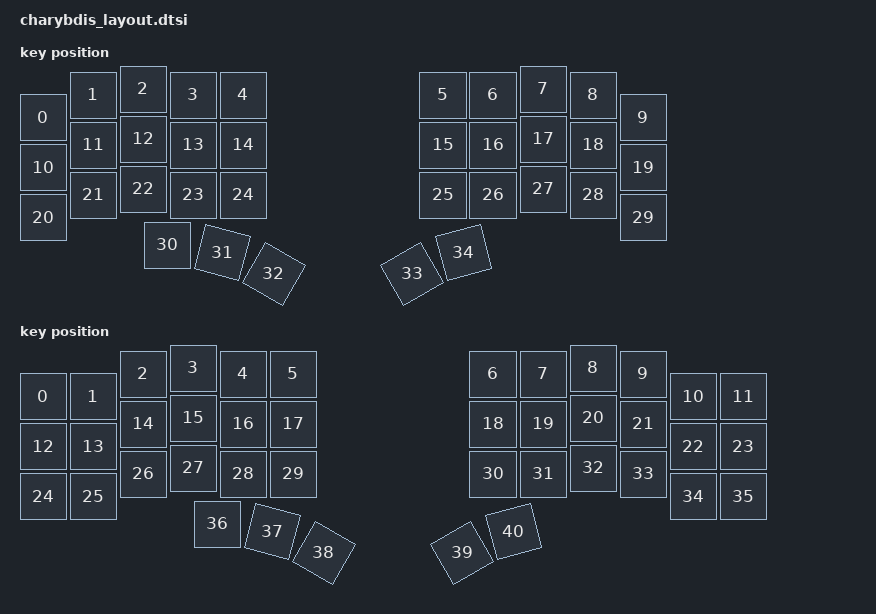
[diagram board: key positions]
#include <physical_layouts.dtsi>
/* https://zmk-physical-layout-converter.streamlit.app/ */

/ {
    charybdis_5col_layout: charybdis_5col_layout {
        compatible = "zmk,physical-layout";
        display-name = "Charybdis 3x5";
        transform = <&charybdis_5col_transform>;

        keys
            // Left Half - Main Keys
            //                       w   h    x    y     rot    rx    ry
            = <&key_physical_attrs 100 100    0   57       0     0     0>
            , <&key_physical_attrs 100 100  100   12       0     0     0>
            , <&key_physical_attrs 100 100  200    0       0     0     0>
            , <&key_physical_attrs 100 100  300   12       0     0     0>
            , <&key_physical_attrs 100 100  400   12       0     0     0>
            , <&key_physical_attrs 100 100  800   12       0     0     0>
            , <&key_physical_attrs 100 100  900   12       0     0     0>
            , <&key_physical_attrs 100 100 1000    0       0     0     0>
            , <&key_physical_attrs 100 100 1100   12       0     0     0>
            , <&key_physical_attrs 100 100 1200   57       0     0     0>
            , <&key_physical_attrs 100 100    0  157       0     0     0>
            , <&key_physical_attrs 100 100  100  112       0     0     0>
            , <&key_physical_attrs 100 100  200  100       0     0     0>
            , <&key_physical_attrs 100 100  300  112       0     0     0>
            , <&key_physical_attrs 100 100  400  112       0     0     0>
            
            // Right Half - Main Keys
            //                       w   h    x    y     rot    rx    ry
            , <&key_physical_attrs 100 100  800  112       0     0     0>
            , <&key_physical_attrs 100 100  900  112       0     0     0>
            , <&key_physical_attrs 100 100 1000  100       0     0     0>
            , <&key_physical_attrs 100 100 1100  112       0     0     0>
            , <&key_physical_attrs 100 100 1200  157       0     0     0>
            , <&key_physical_attrs 100 100    0  257       0     0     0>
            , <&key_physical_attrs 100 100  100  212       0     0     0>
            , <&key_physical_attrs 100 100  200  200       0     0     0>
            , <&key_physical_attrs 100 100  300  212       0     0     0>
            , <&key_physical_attrs 100 100  400  212       0     0     0>
            , <&key_physical_attrs 100 100  800  212       0     0     0>
            , <&key_physical_attrs 100 100  900  212       0     0     0>
            , <&key_physical_attrs 100 100 1000  200       0     0     0>
            , <&key_physical_attrs 100 100 1100  212       0     0     0>
            , <&key_physical_attrs 100 100 1200  257       0     0     0>

            // Thumb Clusters
            //                       w   h    x    y     rot    rx    ry
            , <&key_physical_attrs 100 100  248  312       0     0     0>
            , <&key_physical_attrs 100 100  248  312    1500   298   789>
            , <&key_physical_attrs 100 100  248  312    3000   298   789>
            , <&key_physical_attrs 100 100  952  312 (-3000)  1002   789>
            , <&key_physical_attrs 100 100  952  312 (-1500)  1002   789>
            ;
    };

    charybdis_6col_layout: charybdis_6col_layout {
        compatible = "zmk,physical-layout";
        display-name = "Charybdis 3x6";
        transform = <&charybdis_6col_transform>;

        keys
            // Left Half - Main Keys
            //                       w   h    x    y     rot    rx    ry
            = <&key_physical_attrs 100 100    0   57       0     0     0>
            , <&key_physical_attrs 100 100  100   57       0     0     0>
            , <&key_physical_attrs 100 100  200   12       0     0     0>
            , <&key_physical_attrs 100 100  300    0       0     0     0>
            , <&key_physical_attrs 100 100  400   12       0     0     0>
            , <&key_physical_attrs 100 100  500   12       0     0     0>
            , <&key_physical_attrs 100 100  900   12       0     0     0>
            , <&key_physical_attrs 100 100 1000   12       0     0     0>
            , <&key_physical_attrs 100 100 1100    0       0     0     0>
            , <&key_physical_attrs 100 100 1200   12       0     0     0>
            , <&key_physical_attrs 100 100 1300   57       0     0     0>
            , <&key_physical_attrs 100 100 1400   57       0     0     0>
            , <&key_physical_attrs 100 100    0  157       0     0     0>
            , <&key_physical_attrs 100 100  100  157       0     0     0>
            , <&key_physical_attrs 100 100  200  112       0     0     0>
            , <&key_physical_attrs 100 100  300  100       0     0     0>
            , <&key_physical_attrs 100 100  400  112       0     0     0>
            , <&key_physical_attrs 100 100  500  112       0     0     0>

            // Right Half - Main Keys
            //                       w   h    x    y     rot    rx    ry
            , <&key_physical_attrs 100 100  900  112       0     0     0>
            , <&key_physical_attrs 100 100 1000  112       0     0     0>
            , <&key_physical_attrs 100 100 1100  100       0     0     0>
            , <&key_physical_attrs 100 100 1200  112       0     0     0>
            , <&key_physical_attrs 100 100 1300  157       0     0     0>
            , <&key_physical_attrs 100 100 1400  157       0     0     0>
            , <&key_physical_attrs 100 100    0  257       0     0     0>
            , <&key_physical_attrs 100 100  100  257       0     0     0>
            , <&key_physical_attrs 100 100  200  212       0     0     0>
            , <&key_physical_attrs 100 100  300  200       0     0     0>
            , <&key_physical_attrs 100 100  400  212       0     0     0>
            , <&key_physical_attrs 100 100  500  212       0     0     0>
            , <&key_physical_attrs 100 100  900  212       0     0     0>
            , <&key_physical_attrs 100 100 1000  212       0     0     0>
            , <&key_physical_attrs 100 100 1100  200       0     0     0>
            , <&key_physical_attrs 100 100 1200  212       0     0     0>
            , <&key_physical_attrs 100 100 1300  257       0     0     0>
            , <&key_physical_attrs 100 100 1400  257       0     0     0>

            // Thumb Clusters
            //                       w   h    x    y     rot    rx    ry
            , <&key_physical_attrs 100 100  348  312       0     0     0>
            , <&key_physical_attrs 100 100  348  312    1500   398   789>
            , <&key_physical_attrs 100 100  348  312    3000   398   789>
            , <&key_physical_attrs 100 100 1052  312 (-3000)  1102   789>
            , <&key_physical_attrs 100 100 1052  312 (-1500)  1102   789>
            ;
    };

};
